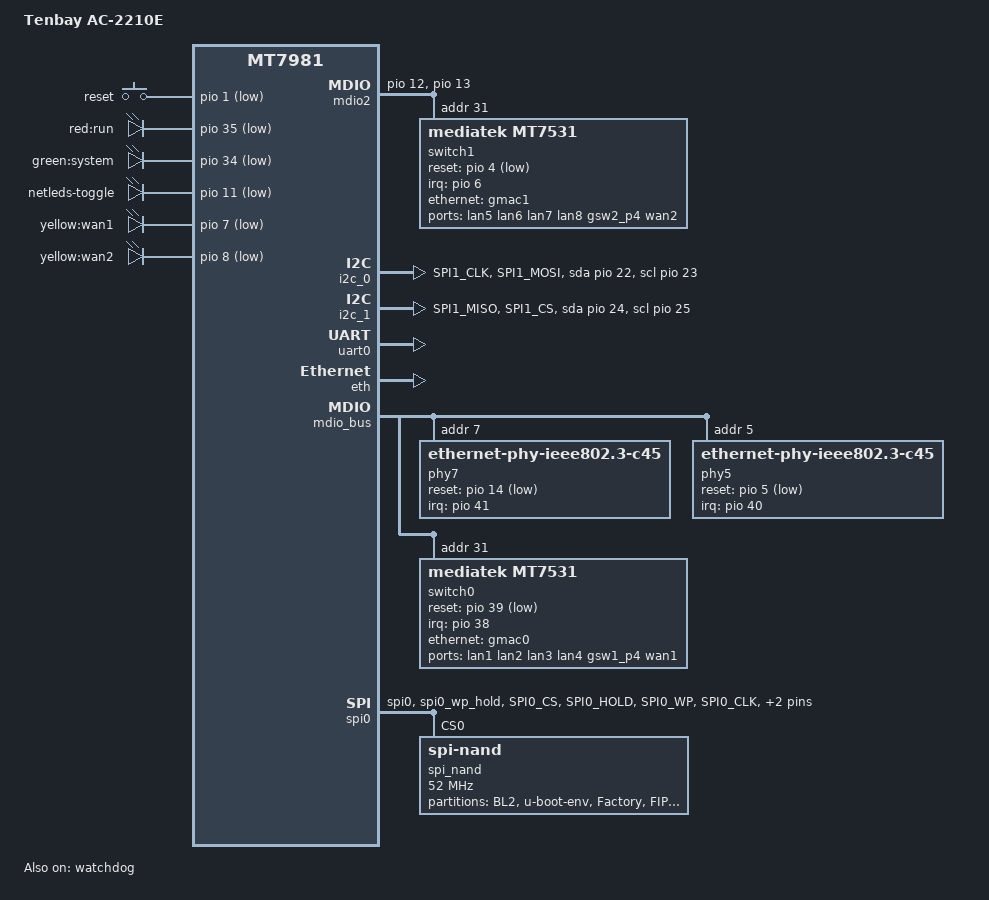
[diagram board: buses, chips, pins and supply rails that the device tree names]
/dts-v1/;

#include "mt7981b.dtsi"

/ {
	model = "Tenbay AC-2210E";
	compatible = "tenbay,ac-2210e", "mediatek,mt7981";

	aliases {
		led-boot = &led_run;
		led-failsafe = &led_run;
		led-running = &led_sys;
		led-upgrade = &led_run;
		serial0 = &uart0;
		mdio-gpio0 = &mdio2;
	};

	chosen {
		stdout-path = "serial0:115200n8";
	};

	gpio-keys {
		compatible = "gpio-keys";

		reset {
			label = "reset";
			linux,code = <KEY_RESTART>;
			gpios = <&pio 1 GPIO_ACTIVE_LOW>;
		};
	};

	leds {
		compatible = "gpio-leds";

		led_run: led@0 {
			label = "red:run";
			gpios = <&pio 35 GPIO_ACTIVE_LOW>;
		};

		led_sys: led@1 {
			label = "green:system";
			gpios = <&pio 34 GPIO_ACTIVE_LOW>;
		};

		netleds-toggle {
			label = "netleds-toggle";
			gpios = <&pio 11 GPIO_ACTIVE_LOW>;
			linux,default-trigger = "default-on";
		};

		wan1 {
			label = "yellow:wan1";
			gpios = <&pio 7 GPIO_ACTIVE_LOW>;
		};

		wan2 {
			label = "yellow:wan2";
			gpios = <&pio 8 GPIO_ACTIVE_LOW>;
		};
	};

	mdio2: mdio {
		compatible = "virtual,mdio-gpio";
		#address-cells = <1>;
		#size-cells = <0>;
	};

	i2c_0: i2c@0 {
		compatible = "i2c-gpio";
		pinctrl-names = "default";
		pinctrl-0 = <&i2c_0_pins>;
		#address-cells = <1>;
		#size-cells = <0>;
		sda-gpios = <&pio 22 (GPIO_ACTIVE_HIGH | GPIO_OPEN_DRAIN)>;
		scl-gpios = <&pio 23 (GPIO_ACTIVE_HIGH | GPIO_OPEN_DRAIN)>;
		i2c-gpio,delay-us = <2>;
	};

	i2c_1: i2c@1 {
		compatible = "i2c-gpio";
		pinctrl-names = "default";
		pinctrl-0 = <&i2c_1_pins>;
		#address-cells = <1>;
		#size-cells = <0>;
		sda-gpios = <&pio 24 (GPIO_ACTIVE_HIGH | GPIO_OPEN_DRAIN)>;
		scl-gpios = <&pio 25 (GPIO_ACTIVE_HIGH | GPIO_OPEN_DRAIN)>;
		i2c-gpio,delay-us = <2>;
	};
};

&uart0 {
	status = "okay";
};

&watchdog {
	status = "okay";
};

&eth {
	pinctrl-names = "default";
	pinctrl-0 = <&mdio_pins>;

	status = "okay";

	gmac0: mac@0 {
		compatible = "mediatek,eth-mac";
		reg = <0>;
		phy-mode = "2500base-x";
		nvmem-cells = <&macaddr_2a>;
		nvmem-cell-names = "mac-address";

		fixed-link {
			speed = <2500>;
			full-duplex;
			pause;
		};
	};

	gmac1: mac@1 {
		compatible = "mediatek,eth-mac";
		reg = <1>;
		phy-mode = "2500base-x";
		nvmem-cells = <&macaddr_24>;
		nvmem-cell-names = "mac-address";

		fixed-link {
			speed = <2500>;
			full-duplex;
			pause;
		};
	};
};

&mdio_bus {
	phy7: ethernet-phy@7 {
		reg = <7>;
		compatible = "ethernet-phy-ieee802.3-c45";
		reset-gpios = <&pio 14 GPIO_ACTIVE_LOW>;
		reset-assert-us = <10000>;
		reset-deassert-us = <68000>;
		interrupt-parent = <&pio>;
		interrupts = <41 IRQ_TYPE_LEVEL_LOW>;
		realtek,aldps-enable;
		//realtek,led-link-select = <0xa7 0x0 0x0>;
	};

	phy5: ethernet-phy@5 {
		reg = <5>;
		compatible = "ethernet-phy-ieee802.3-c45";
		reset-gpios = <&pio 5 GPIO_ACTIVE_LOW>;
		reset-assert-us = <10000>;
		reset-deassert-us = <68000>;
		interrupt-parent = <&pio>;
		interrupts = <40 IRQ_TYPE_LEVEL_LOW>;
		realtek,aldps-enable;
		//realtek,led-link-select = <0xa7 0x0 0x0>;
	};

	switch0: switch@1f {
		compatible = "mediatek,mt7531";
		reg = <31>;
		dsa,member = <0 0>;
		reset-gpios = <&pio 39 GPIO_ACTIVE_LOW>;
		interrupt-controller;
		#interrupt-cells = <1>;
		interrupt-parent = <&pio>;
		interrupts = <38 IRQ_TYPE_LEVEL_HIGH>;
	};
};

&switch0 {
	ports {
		#address-cells = <1>;
		#size-cells = <0>;

		port@0 {
			reg = <0>;
			label = "lan1";
		};

		port@1 {
			reg = <1>;
			label = "lan2";
		};

		port@2 {
			reg = <2>;
			label = "lan3";
		};

		port@3 {
			reg = <3>;
			label = "lan4";
		};

		port@4 {
			reg = <4>;
			label = "gsw1_p4";
		};

		port@5 {
			reg = <5>;
			label = "wan1";
			phy-mode = "2500base-x";
			phy-handle = <&phy7>;
		};

		port@6 {
			reg = <6>;
			ethernet = <&gmac0>;
			phy-mode = "2500base-x";

			fixed-link {
				speed = <2500>;
				full-duplex;
				pause;
			};
		};
	};
};

&mdio2 {
	gpios = <&pio 12 GPIO_ACTIVE_HIGH>, <&pio 13 GPIO_ACTIVE_HIGH>;

	switch1: switch@1f {
		compatible = "mediatek,mt7531";
		reg = <31>;
		dsa,member = <1 0>;
		reset-gpios = <&pio 4 GPIO_ACTIVE_LOW>;
		reset-delay-us = <600>;
		reset-post-delay-us = <20000>;
		interrupt-controller;
		#interrupt-cells = <1>;
		interrupt-parent = <&pio>;
		interrupts = <6 IRQ_TYPE_LEVEL_HIGH>;
	};
};

&switch1 {
	ports {
		#address-cells = <1>;
		#size-cells = <0>;

		port@0 {
			reg = <0>;
			label = "lan5";
		};

		port@1 {
			reg = <1>;
			label = "lan6";
		};

		port@2 {
			reg = <2>;
			label = "lan7";
		};

		port@3 {
			reg = <3>;
			label = "lan8";
		};

		port@4 {
			reg = <4>;
			label = "gsw2_p4";
		};

		port@5 {
			reg = <5>;
			label = "wan2";
			phy-mode = "2500base-x";
			phy-handle = <&phy5>;
		};

		port@6 {
			reg = <6>;
			ethernet = <&gmac1>;
			phy-mode = "2500base-x";

			fixed-link {
				speed = <2500>;
				full-duplex;
				pause;
			};
		};
	};
};

&spi0 {
	pinctrl-names = "default";
	pinctrl-0 = <&spi0_flash_pins>;
	status = "okay";

	spi_nand: flash@0 {
		#address-cells = <1>;
		#size-cells = <1>;
		compatible = "spi-nand";
		reg = <0>;
		spi-max-frequency = <52000000>;

		spi-cal-enable;
		spi-cal-mode = "read-data";
		spi-cal-datalen = <7>;
		spi-cal-data = /bits/ 8 <0x53 0x50 0x49 0x4E 0x41 0x4E 0x44>;
		spi-cal-addrlen = <5>;
		spi-cal-addr = /bits/ 32 <0x0 0x0 0x0 0x0 0x0>;

		spi-tx-bus-width = <4>;
		spi-rx-bus-width = <4>;
		mediatek,nmbm;
		mediatek,bmt-max-ratio = <1>;
		mediatek,bmt-max-reserved-blocks = <64>;

		partitions {
			compatible = "fixed-partitions";
			#address-cells = <1>;
			#size-cells = <1>;

			partition@0 {
				label = "BL2";
				reg = <0x00000 0x0100000>;
				read-only;
			};

			partition@100000 {
				label = "u-boot-env";
				reg = <0x0100000 0x0080000>;
			};

			factory: partition@180000 {
				label = "Factory";
				reg = <0x180000 0x0200000>;

				nvmem-layout {
					compatible = "fixed-layout";
					#address-cells = <1>;
					#size-cells = <1>;

					macaddr_24: macaddr@24 {
						reg = <0x24 0x6>;
					};
					macaddr_2a: macaddr@2a {
						reg = <0x2a 0x6>;
					};
				};
			};

			partition@380000 {
				label = "FIP";
				reg = <0x380000 0x0200000>;
			};

			partition@580000 {
				label = "ubi";
				compatible = "linux,ubi";
				reg = <0x580000 0x3000000>;
			};

			partition@3580000 {
				label = "ubi1";
				reg = <0x3580000 0x3000000>;
			};

			partition@6580000 {
				label = "Product";
				reg = <0x6580000 0x0020000>;  // 128 KB
			};

			partition@65a0000 {
				label = "Custom";
				reg = <0x65a0000 0x1000000>;  // 16 MB
			};
		};
	};
};

&pio {
	spi0_flash_pins: spi0-pins {
		mux {
			function = "spi";
			groups = "spi0", "spi0_wp_hold";
		};

		conf-pu {
			pins = "SPI0_CS", "SPI0_HOLD", "SPI0_WP";
			drive-strength = <MTK_DRIVE_8mA>;
			bias-pull-up = <MTK_PUPD_SET_R1R0_11>;
		};

		conf-pd {
			pins = "SPI0_CLK", "SPI0_MOSI", "SPI0_MISO";
			drive-strength = <MTK_DRIVE_8mA>;
			bias-pull-down = <MTK_PUPD_SET_R1R0_11>;
		};
	};

	i2c_0_pins: spi1-pins-func-0 {
		conf-pu {
			pins = "SPI1_CLK", "SPI1_MOSI";
			drive-strength = <MTK_DRIVE_4mA>;
			bias-pull-up = <MTK_PUPD_SET_R1R0_11>;
		};
	};

	i2c_1_pins: spi1-pins-func-1 {
		conf-pu {
			pins = "SPI1_MISO", "SPI1_CS";
			drive-strength = <MTK_DRIVE_4mA>;
			bias-pull-up = <MTK_PUPD_SET_R1R0_11>;
		};
	};
};

&sgmiisys1 {
	mediatek,pnswap;
};
